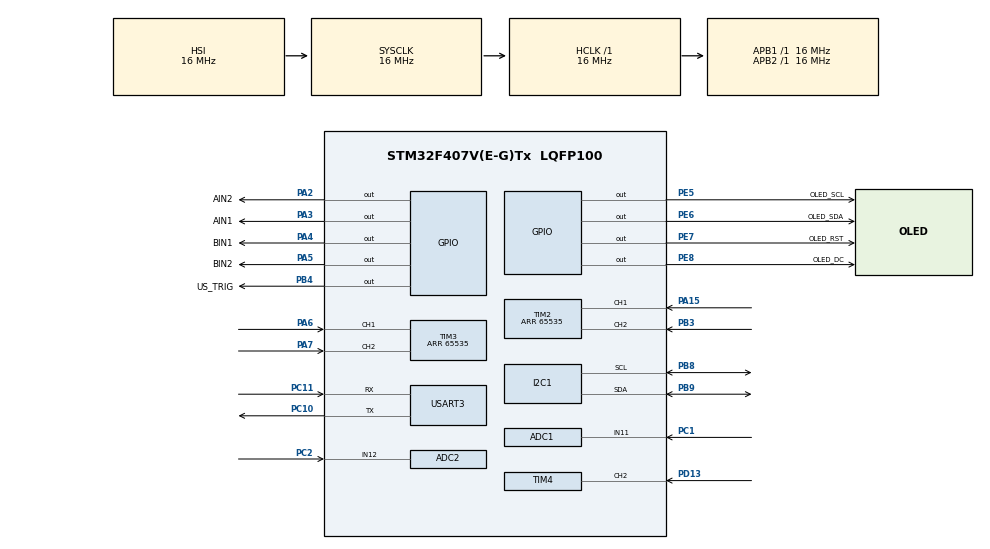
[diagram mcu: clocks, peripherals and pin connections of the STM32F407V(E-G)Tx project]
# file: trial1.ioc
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ADC1.Channel-1\#ChannelRegularConversion=ADC_CHANNEL_11
ADC1.NbrOfConversionFlag=1
ADC1.Rank-1\#ChannelRegularConversion=1
ADC1.SamplingTime-1\#ChannelRegularConversion=ADC_SAMPLETIME_3CYCLES
ADC1.master=1
ADC2.Channel-0\#ChannelRegularConversion=ADC_CHANNEL_12
ADC2.NbrOfConversionFlag=1
ADC2.Rank-0\#ChannelRegularConversion=1
ADC2.SamplingTime-0\#ChannelRegularConversion=ADC_SAMPLETIME_3CYCLES
FREERTOS.Tasks01=defaultTask,24,128,StartDefaultTask,Default,NULL,Dynamic,NULL,NULL;MotorTask,8,1024,motors,Default,NULL,Dynamic,NULL,NULL;ShowTask,8,128,show,Default,NULL,Dynamic,NULL,NULL
Mcu.Family=STM32F4
Mcu.Name=STM32F407V(E-G)Tx
Mcu.Package=LQFP100
NVIC.PriorityGroup=NVIC_PRIORITYGROUP_4
NVIC.TIM4_IRQn=true\:5\:0\:false\:false\:true\:true\:true\:true
NVIC.USART3_IRQn=true\:5\:0\:false\:false\:true\:true\:true\:true
PA15.Signal=S_TIM2_CH1_ETR
PA2.GPIO_Label=AIN2
PA2.GPIO_Speed=GPIO_SPEED_FREQ_HIGH
PA2.Signal=GPIO_Output
PA3.GPIO_Label=AIN1
PA3.GPIO_Speed=GPIO_SPEED_FREQ_HIGH
PA3.Signal=GPIO_Output
PA4.GPIO_Label=BIN1
PA4.Signal=GPIO_Output
PA5.GPIO_Label=BIN2
PA5.Signal=GPIO_Output
PA6.Signal=S_TIM3_CH1
PA7.Signal=S_TIM3_CH2
PB3.Signal=S_TIM2_CH2
PB4.GPIO_Label=US_TRIG
PB4.Signal=GPIO_Output
PB8.GPIO_Pu=GPIO_PULLUP
PB8.GPIO_Speed=GPIO_SPEED_FREQ_HIGH
PB8.Mode=I2C
PB8.Signal=I2C1_SCL
PB9.GPIO_Pu=GPIO_PULLUP
PB9.GPIO_Speed=GPIO_SPEED_FREQ_HIGH
PB9.Mode=I2C
PB9.Signal=I2C1_SDA
PC1.Signal=ADCx_IN11
PC10.Mode=Asynchronous
PC10.Signal=USART3_TX
PC11.Mode=Asynchronous
PC11.Signal=USART3_RX
PC2.Signal=ADCx_IN12
PC6.GPIO_Label=PWMA
PC6.Signal=S_TIM8_CH1
PC7.GPIO_Label=PWMB
PC7.Signal=S_TIM8_CH2
PD13.Signal=S_TIM4_CH2
PE14.Signal=S_TIM1_CH4
PE5.GPIO_Label=OLED_SCL
PE5.Signal=GPIO_Output
PE6.GPIO_Label=OLED_SDA
PE6.Signal=GPIO_Output
PE7.GPIO_Label=OLED_RST
PE7.Signal=GPIO_Output
PE8.GPIO_Label=OLED_DC
PE8.Signal=GPIO_Output
ProjectManager.HeapSize=0x200
ProjectManager.StackSize=0x400
ProjectManager.TargetToolchain=STM32CubeIDE
RCC.AHBFreq_Value=16000000
RCC.APB1Freq_Value=16000000
RCC.APB2Freq_Value=16000000
RCC.CortexFreq_Value=16000000
RCC.HSE_VALUE=25000000
RCC.HSI_VALUE=16000000
RCC.LSE_VALUE=32768
RCC.SYSCLKFreq_VALUE=16000000
RCC.VCOOutputFreq_Value=192000000
SH.ADCx_IN11.0=ADC1_IN11,IN11
SH.ADCx_IN12.0=ADC2_IN12,IN12
SH.S_TIM1_CH4.0=TIM1_CH4
SH.S_TIM2_CH1_ETR.0=TIM2_CH1,Encoder_Interface
SH.S_TIM2_CH2.0=TIM2_CH2,Encoder_Interface
SH.S_TIM3_CH1.0=TIM3_CH1,Encoder_Interface
SH.S_TIM3_CH2.0=TIM3_CH2,Encoder_Interface
SH.S_TIM4_CH2.0=TIM4_CH2,Input_Capture2_from_TI2
SH.S_TIM8_CH1.0=TIM8_CH1
SH.S_TIM8_CH2.0=TIM8_CH2
TIM1.AutoReloadPreload=TIM_AUTORELOAD_PRELOAD_ENABLE
TIM1.Channel-PWM\ Generation4\ No\ Output=TIM_CHANNEL_4
TIM1.Period=1000
TIM1.Prescaler=320
TIM2.EncoderMode=TIM_ENCODERMODE_TI12
TIM2.IC1Filter=10
TIM2.IC2Filter=10
TIM2.Period=65535
TIM3.AutoReloadPreload=TIM_AUTORELOAD_PRELOAD_DISABLE
TIM3.EncoderMode=TIM_ENCODERMODE_TI12
TIM3.IC1Filter=10
TIM3.IC2Filter=10
TIM3.Period=65535
TIM4.Channel-Input_Capture2_from_TI2=TIM_CHANNEL_2
TIM4.Prescaler=16-1
TIM8.Channel-PWM\ Generation1\ No\ Output=TIM_CHANNEL_1
TIM8.Channel-PWM\ Generation2\ No\ Output=TIM_CHANNEL_2
TIM8.CounterMode=TIM_COUNTERMODE_UP
TIM8.Period=7199
USART3.VirtualMode=VM_ASYNC
VP_FREERTOS_VS_CMSIS_V2.Mode=CMSIS_V2
VP_TIM1_VS_ClockSourceINT.Mode=Internal
VP_TIM1_VS_no_output4.Mode=PWM Generation4 No Output
VP_TIM8_VS_ClockSourceINT.Mode=Internal
VP_TIM8_VS_no_output1.Mode=PWM Generation1 No Output
VP_TIM8_VS_no_output2.Mode=PWM Generation2 No Output
board=custom

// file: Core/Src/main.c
/* USER CODE BEGIN Header */
/**
  ******************************************************************************
  * @file           : main.c
  * @brief          : Main program body
  ******************************************************************************
  * @attention
  *
  * Copyright (c) 2022 STMicroelectronics.
  * All rights reserved.
  *
  * This software is licensed under terms that can be found in the LICENSE file
  * in the root directory of this software component.
  * If no LICENSE file comes with this software, it is provided AS-IS.
  *
  ******************************************************************************
  */
/* USER CODE END Header */
#include "main.h"
#include "cmsis_os.h"

/* USER CODE BEGIN Includes */
#include "oled.h"
#include "math.h"
#include "stdbool.h"
#include "pid.h"
#include "ICM20948.h"
/* USER CODE END Includes */

ADC_HandleTypeDef hadc1;
ADC_HandleTypeDef hadc2;

I2C_HandleTypeDef hi2c1;

TIM_HandleTypeDef htim1;
TIM_HandleTypeDef htim2;
TIM_HandleTypeDef htim3;
TIM_HandleTypeDef htim4;
TIM_HandleTypeDef htim8;

UART_HandleTypeDef huart3;

/* Definitions for defaultTask */
osThreadId_t defaultTaskHandle;
const osThreadAttr_t defaultTask_attributes = {
  .name = "defaultTask",
  .stack_size = 128 * 4,
  .priority = (osPriority_t) osPriorityNormal,
};
/* Definitions for MotorTask */
osThreadId_t MotorTaskHandle;
const osThreadAttr_t MotorTask_attributes = {
  .name = "MotorTask",
  .stack_size = 1024 * 4,
  .priority = (osPriority_t) osPriorityLow,
};
/* Definitions for ShowTask */
osThreadId_t ShowTaskHandle;
const osThreadAttr_t ShowTask_attributes = {
  .name = "ShowTask",
  .stack_size = 128 * 4,
  .priority = (osPriority_t) osPriorityLow,
};
/* USER CODE BEGIN PV */

// gyro value for PID
float targetAngle = 0;
float curAngle = 0;
uint8_t readGyroZData[2];
int16_t gyroZ;
float curAngleTurn = 0;
/* USER CODE END PV */

void SystemClock_Config(void);
static void MX_GPIO_Init(void);
static void MX_TIM8_Init(void);
static void MX_TIM2_Init(void);
static void MX_TIM3_Init(void);
static void MX_TIM1_Init(void);
static void MX_USART3_UART_Init(void);
static void MX_I2C1_Init(void);
static void MX_ADC1_Init(void);
static void MX_ADC2_Init(void);
static void MX_TIM4_Init(void);
void StartDefaultTask(void *argument);
void motors(void *argument);
void show(void *argument);

/* USER CODE BEGIN 0 */
uint8_t aRxBuffer[4];
uint8_t indexer = 0; // to store array index and determine number of incoming chars
uint8_t data_rx = 0; // to receive incoming uart char
float targetAngle;
/* USER CODE END 0 */

int main(void)
{

  /* MCU Configuration--------------------------------------------------------*/

  /* Reset of all peripherals, Initializes the Flash interface and the Systick. */
  HAL_Init();

  /* Configure the system clock */
  SystemClock_Config();

  /* Initialize all configured peripherals */
  MX_GPIO_Init();
  MX_TIM8_Init();
  MX_TIM2_Init();
  MX_TIM3_Init();
  MX_TIM1_Init();
  MX_USART3_UART_Init();
  MX_I2C1_Init();
  MX_ADC1_Init();
  MX_ADC2_Init();
  MX_TIM4_Init();
  /* USER CODE BEGIN 2 */
  OLED_Init();
  ICM20948_init(&hi2c1,0,GYRO_FULL_SCALE_2000DPS);

  HAL_UART_Receive_IT(&huart3,(uint8_t *) &data_rx, 1);
//  HAL_UART_Receive_DMA (&huart3, UART1_rxBuffer, 12);
  /* USER CODE END 2 */

  /* Init scheduler */
  osKernelInitialize();

  /* Create the thread(s) */
  /* creation of defaultTask */
  defaultTaskHandle = osThreadNew(StartDefaultTask, NULL, &defaultTask_attributes);

  /* creation of MotorTask */
  MotorTaskHandle = osThreadNew(motors, NULL, &MotorTask_attributes);

  /* creation of ShowTask */
  ShowTaskHandle = osThreadNew(show, NULL, &ShowTask_attributes);

  /* Start scheduler */
  osKernelStart();

  /* We should never get here as control is now taken by the scheduler */
  /* Infinite loop */
  while (1)
  {

  }
}

void SystemClock_Config(void)
{
  RCC_OscInitTypeDef RCC_OscInitStruct = {0};
  RCC_ClkInitTypeDef RCC_ClkInitStruct = {0};

  /** Configure the main internal regulator output voltage
  */
  __HAL_RCC_PWR_CLK_ENABLE();
  __HAL_PWR_VOLTAGESCALING_CONFIG(PWR_REGULATOR_VOLTAGE_SCALE1);
  /** Initializes the RCC Oscillators according to the specified parameters
  * in the RCC_OscInitTypeDef structure.
  */
  RCC_OscInitStruct.OscillatorType = RCC_OSCILLATORTYPE_HSI;
  RCC_OscInitStruct.HSIState = RCC_HSI_ON;
  RCC_OscInitStruct.HSICalibrationValue = RCC_HSICALIBRATION_DEFAULT;
  RCC_OscInitStruct.PLL.PLLState = RCC_PLL_NONE;
  if (HAL_RCC_OscConfig(&RCC_OscInitStruct) != HAL_OK)
  {
    Error_Handler();
  }
  /** Initializes the CPU, AHB and APB buses clocks
  */
  RCC_ClkInitStruct.ClockType = RCC_CLOCKTYPE_HCLK|RCC_CLOCKTYPE_SYSCLK
                              |RCC_CLOCKTYPE_PCLK1|RCC_CLOCKTYPE_PCLK2;
  RCC_ClkInitStruct.SYSCLKSource = RCC_SYSCLKSOURCE_HSI;
  RCC_ClkInitStruct.AHBCLKDivider = RCC_SYSCLK_DIV1;
  RCC_ClkInitStruct.APB1CLKDivider = RCC_HCLK_DIV1;
  RCC_ClkInitStruct.APB2CLKDivider = RCC_HCLK_DIV1;

  if (HAL_RCC_ClockConfig(&RCC_ClkInitStruct, FLASH_LATENCY_0) != HAL_OK)
  {
    Error_Handler();
  }
}

static void MX_ADC1_Init(void)
{

  ADC_ChannelConfTypeDef sConfig = {0};

  /** Configure the global features of the ADC (Clock, Resolution, Data Alignment and number of conversion)
  */
  hadc1.Instance = ADC1;
  hadc1.Init.ClockPrescaler = ADC_CLOCK_SYNC_PCLK_DIV2;
  hadc1.Init.Resolution = ADC_RESOLUTION_12B;
  hadc1.Init.ScanConvMode = DISABLE;
  hadc1.Init.ContinuousConvMode = DISABLE;
  hadc1.Init.DiscontinuousConvMode = DISABLE;
  hadc1.Init.ExternalTrigConvEdge = ADC_EXTERNALTRIGCONVEDGE_NONE;
  hadc1.Init.ExternalTrigConv = ADC_SOFTWARE_START;
  hadc1.Init.DataAlign = ADC_DATAALIGN_RIGHT;
  hadc1.Init.NbrOfConversion = 1;
  hadc1.Init.DMAContinuousRequests = DISABLE;
  hadc1.Init.EOCSelection = ADC_EOC_SINGLE_CONV;
  if (HAL_ADC_Init(&hadc1) != HAL_OK)
  {
    Error_Handler();
  }
  /** Configure for the selected ADC regular channel its corresponding rank in the sequencer and its sample time.
  */
  sConfig.Channel = ADC_CHANNEL_11;
  sConfig.Rank = 1;
  sConfig.SamplingTime = ADC_SAMPLETIME_3CYCLES;
  if (HAL_ADC_ConfigChannel(&hadc1, &sConfig) != HAL_OK)
  {
    Error_Handler();
  }

}

static void MX_ADC2_Init(void)
{

  ADC_ChannelConfTypeDef sConfig = {0};

  /** Configure the global features of the ADC (Clock, Resolution, Data Alignment and number of conversion)
  */
  hadc2.Instance = ADC2;
  hadc2.Init.ClockPrescaler = ADC_CLOCK_SYNC_PCLK_DIV2;
  hadc2.Init.Resolution = ADC_RESOLUTION_12B;
  hadc2.Init.ScanConvMode = DISABLE;
  hadc2.Init.ContinuousConvMode = DISABLE;
  hadc2.Init.DiscontinuousConvMode = DISABLE;
  hadc2.Init.ExternalTrigConvEdge = ADC_EXTERNALTRIGCONVEDGE_NONE;
  hadc2.Init.ExternalTrigConv = ADC_SOFTWARE_START;
  hadc2.Init.DataAlign = ADC_DATAALIGN_RIGHT;
  hadc2.Init.NbrOfConversion = 1;
  hadc2.Init.DMAContinuousRequests = DISABLE;
  hadc2.Init.EOCSelection = ADC_EOC_SINGLE_CONV;
  if (HAL_ADC_Init(&hadc2) != HAL_OK)
  {
    Error_Handler();
  }
  /** Configure for the selected ADC regular channel its corresponding rank in the sequencer and its sample time.
  */
  sConfig.Channel = ADC_CHANNEL_12;
  sConfig.Rank = 1;
  sConfig.SamplingTime = ADC_SAMPLETIME_3CYCLES;
  if (HAL_ADC_ConfigChannel(&hadc2, &sConfig) != HAL_OK)
  {
    Error_Handler();
  }

}

static void MX_I2C1_Init(void)
{

  hi2c1.Instance = I2C1;
  hi2c1.Init.ClockSpeed = 100000;
  hi2c1.Init.DutyCycle = I2C_DUTYCYCLE_2;
  hi2c1.Init.OwnAddress1 = 0;
  hi2c1.Init.AddressingMode = I2C_ADDRESSINGMODE_7BIT;
  hi2c1.Init.DualAddressMode = I2C_DUALADDRESS_DISABLE;
  hi2c1.Init.OwnAddress2 = 0;
  hi2c1.Init.GeneralCallMode = I2C_GENERALCALL_DISABLE;
  hi2c1.Init.NoStretchMode = I2C_NOSTRETCH_DISABLE;
  if (HAL_I2C_Init(&hi2c1) != HAL_OK)
  {
    Error_Handler();
  }

}

static void MX_TIM1_Init(void)
{

  TIM_ClockConfigTypeDef sClockSourceConfig = {0};
  TIM_MasterConfigTypeDef sMasterConfig = {0};
  TIM_OC_InitTypeDef sConfigOC = {0};
  TIM_BreakDeadTimeConfigTypeDef sBreakDeadTimeConfig = {0};

  htim1.Instance = TIM1;
  htim1.Init.Prescaler = 320;
  htim1.Init.CounterMode = TIM_COUNTERMODE_UP;
  htim1.Init.Period = 1000;
  htim1.Init.ClockDivision = TIM_CLOCKDIVISION_DIV1;
  htim1.Init.RepetitionCounter = 0;
  htim1.Init.AutoReloadPreload = TIM_AUTORELOAD_PRELOAD_ENABLE;
  if (HAL_TIM_Base_Init(&htim1) != HAL_OK)
  {
    Error_Handler();
  }
  sClockSourceConfig.ClockSource = TIM_CLOCKSOURCE_INTERNAL;
  if (HAL_TIM_ConfigClockSource(&htim1, &sClockSourceConfig) != HAL_OK)
  {
    Error_Handler();
  }
  if (HAL_TIM_PWM_Init(&htim1) != HAL_OK)
  {
    Error_Handler();
  }
  sMasterConfig.MasterOutputTrigger = TIM_TRGO_RESET;
  sMasterConfig.MasterSlaveMode = TIM_MASTERSLAVEMODE_DISABLE;
  if (HAL_TIMEx_MasterConfigSynchronization(&htim1, &sMasterConfig) != HAL_OK)
  {
    Error_Handler();
  }
  sConfigOC.OCMode = TIM_OCMODE_PWM1;
  sConfigOC.Pulse = 0;
  sConfigOC.OCPolarity = TIM_OCPOLARITY_HIGH;
  sConfigOC.OCFastMode = TIM_OCFAST_DISABLE;
  sConfigOC.OCIdleState = TIM_OCIDLESTATE_RESET;
  sConfigOC.OCNIdleState = TIM_OCNIDLESTATE_RESET;
  if (HAL_TIM_PWM_ConfigChannel(&htim1, &sConfigOC, TIM_CHANNEL_4) != HAL_OK)
  {
    Error_Handler();
  }
  sBreakDeadTimeConfig.OffStateRunMode = TIM_OSSR_DISABLE;
  sBreakDeadTimeConfig.OffStateIDLEMode = TIM_OSSI_DISABLE;
  sBreakDeadTimeConfig.LockLevel = TIM_LOCKLEVEL_OFF;
  sBreakDeadTimeConfig.DeadTime = 0;
  sBreakDeadTimeConfig.BreakState = TIM_BREAK_DISABLE;
  sBreakDeadTimeConfig.BreakPolarity = TIM_BREAKPOLARITY_HIGH;
  sBreakDeadTimeConfig.AutomaticOutput = TIM_AUTOMATICOUTPUT_DISABLE;
  if (HAL_TIMEx_ConfigBreakDeadTime(&htim1, &sBreakDeadTimeConfig) != HAL_OK)
  {
    Error_Handler();
  }

}

static void MX_TIM2_Init(void)
{

  TIM_Encoder_InitTypeDef sConfig = {0};
  TIM_MasterConfigTypeDef sMasterConfig = {0};

  htim2.Instance = TIM2;
  htim2.Init.Prescaler = 0;
  htim2.Init.CounterMode = TIM_COUNTERMODE_UP;
  htim2.Init.Period = 65535;
  htim2.Init.ClockDivision = TIM_CLOCKDIVISION_DIV1;
  htim2.Init.AutoReloadPreload = TIM_AUTORELOAD_PRELOAD_DISABLE;
  sConfig.EncoderMode = TIM_ENCODERMODE_TI12;
  sConfig.IC1Polarity = TIM_ICPOLARITY_RISING;
  sConfig.IC1Selection = TIM_ICSELECTION_DIRECTTI;
  sConfig.IC1Prescaler = TIM_ICPSC_DIV1;
  sConfig.IC1Filter = 10;
  sConfig.IC2Polarity = TIM_ICPOLARITY_RISING;
  sConfig.IC2Selection = TIM_ICSELECTION_DIRECTTI;
  sConfig.IC2Prescaler = TIM_ICPSC_DIV1;
  sConfig.IC2Filter = 10;
  if (HAL_TIM_Encoder_Init(&htim2, &sConfig) != HAL_OK)
  {
    Error_Handler();
  }
  sMasterConfig.MasterOutputTrigger = TIM_TRGO_RESET;
  sMasterConfig.MasterSlaveMode = TIM_MASTERSLAVEMODE_DISABLE;
  if (HAL_TIMEx_MasterConfigSynchronization(&htim2, &sMasterConfig) != HAL_OK)
  {
    Error_Handler();
  }

}

static void MX_TIM3_Init(void)
{

  TIM_Encoder_InitTypeDef sConfig = {0};
  TIM_MasterConfigTypeDef sMasterConfig = {0};

  htim3.Instance = TIM3;
  htim3.Init.Prescaler = 0;
  htim3.Init.CounterMode = TIM_COUNTERMODE_UP;
  htim3.Init.Period = 65535;
  htim3.Init.ClockDivision = TIM_CLOCKDIVISION_DIV1;
  htim3.Init.AutoReloadPreload = TIM_AUTORELOAD_PRELOAD_DISABLE;
  sConfig.EncoderMode = TIM_ENCODERMODE_TI12;
  sConfig.IC1Polarity = TIM_ICPOLARITY_RISING;
  sConfig.IC1Selection = TIM_ICSELECTION_DIRECTTI;
  sConfig.IC1Prescaler = TIM_ICPSC_DIV1;
  sConfig.IC1Filter = 10;
  sConfig.IC2Polarity = TIM_ICPOLARITY_RISING;
  sConfig.IC2Selection = TIM_ICSELECTION_DIRECTTI;
  sConfig.IC2Prescaler = TIM_ICPSC_DIV1;
  sConfig.IC2Filter = 10;
  if (HAL_TIM_Encoder_Init(&htim3, &sConfig) != HAL_OK)
  {
    Error_Handler();
  }
  sMasterConfig.MasterOutputTrigger = TIM_TRGO_RESET;
  sMasterConfig.MasterSlaveMode = TIM_MASTERSLAVEMODE_DISABLE;
  if (HAL_TIMEx_MasterConfigSynchronization(&htim3, &sMasterConfig) != HAL_OK)
  {
    Error_Handler();
  }

}

static void MX_TIM4_Init(void)
{

  TIM_MasterConfigTypeDef sMasterConfig = {0};
  TIM_IC_InitTypeDef sConfigIC = {0};

  htim4.Instance = TIM4;
  htim4.Init.Prescaler = 16-1;
  htim4.Init.CounterMode = TIM_COUNTERMODE_UP;
  htim4.Init.Period = 65535;
  htim4.Init.ClockDivision = TIM_CLOCKDIVISION_DIV1;
  htim4.Init.AutoReloadPreload = TIM_AUTORELOAD_PRELOAD_DISABLE;
  if (HAL_TIM_IC_Init(&htim4) != HAL_OK)
  {
    Error_Handler();
  }
  sMasterConfig.MasterOutputTrigger = TIM_TRGO_RESET;
  sMasterConfig.MasterSlaveMode = TIM_MASTERSLAVEMODE_DISABLE;
  if (HAL_TIMEx_MasterConfigSynchronization(&htim4, &sMasterConfig) != HAL_OK)
  {
    Error_Handler();
  }
  sConfigIC.ICPolarity = TIM_INPUTCHANNELPOLARITY_RISING;
  sConfigIC.ICSelection = TIM_ICSELECTION_DIRECTTI;
  sConfigIC.ICPrescaler = TIM_ICPSC_DIV1;
  sConfigIC.ICFilter = 0;
  if (HAL_TIM_IC_ConfigChannel(&htim4, &sConfigIC, TIM_CHANNEL_2) != HAL_OK)
  {
    Error_Handler();
  }

}

static void MX_TIM8_Init(void)
{

  TIM_ClockConfigTypeDef sClockSourceConfig = {0};
  TIM_MasterConfigTypeDef sMasterConfig = {0};
  TIM_OC_InitTypeDef sConfigOC = {0};
  TIM_BreakDeadTimeConfigTypeDef sBreakDeadTimeConfig = {0};

  htim8.Instance = TIM8;
  htim8.Init.Prescaler = 0;
  htim8.Init.CounterMode = TIM_COUNTERMODE_UP;
  htim8.Init.Period = 7199;
  htim8.Init.ClockDivision = TIM_CLOCKDIVISION_DIV1;
  htim8.Init.RepetitionCounter = 0;
  htim8.Init.AutoReloadPreload = TIM_AUTORELOAD_PRELOAD_DISABLE;
  if (HAL_TIM_Base_Init(&htim8) != HAL_OK)
  {
    Error_Handler();
  }
  sClockSourceConfig.ClockSource = TIM_CLOCKSOURCE_INTERNAL;
  if (HAL_TIM_ConfigClockSource(&htim8, &sClockSourceConfig) != HAL_OK)
  {
    Error_Handler();
  }
  if (HAL_TIM_PWM_Init(&htim8) != HAL_OK)
  {
    Error_Handler();
  }
  sMasterConfig.MasterOutputTrigger = TIM_TRGO_RESET;
  sMasterConfig.MasterSlaveMode = TIM_MASTERSLAVEMODE_DISABLE;
  if (HAL_TIMEx_MasterConfigSynchronization(&htim8, &sMasterConfig) != HAL_OK)
  {
    Error_Handler();
  }
  sConfigOC.OCMode = TIM_OCMODE_PWM1;
  sConfigOC.Pulse = 0;
  sConfigOC.OCPolarity = TIM_OCPOLARITY_HIGH;
  sConfigOC.OCNPolarity = TIM_OCNPOLARITY_HIGH;
  sConfigOC.OCFastMode = TIM_OCFAST_DISABLE;
  sConfigOC.OCIdleState = TIM_OCIDLESTATE_RESET;
  sConfigOC.OCNIdleState = TIM_OCNIDLESTATE_RESET;
  if (HAL_TIM_PWM_ConfigChannel(&htim8, &sConfigOC, TIM_CHANNEL_1) != HAL_OK)
  {
    Error_Handler();
  }
  if (HAL_TIM_PWM_ConfigChannel(&htim8, &sConfigOC, TIM_CHANNEL_2) != HAL_OK)
  {
    Error_Handler();
  }
  sBreakDeadTimeConfig.OffStateRunMode = TIM_OSSR_DISABLE;
  sBreakDeadTimeConfig.OffStateIDLEMode = TIM_OSSI_DISABLE;
  sBreakDeadTimeConfig.LockLevel = TIM_LOCKLEVEL_OFF;
  sBreakDeadTimeConfig.DeadTime = 0;
  sBreakDeadTimeConfig.BreakState = TIM_BREAK_DISABLE;
  sBreakDeadTimeConfig.BreakPolarity = TIM_BREAKPOLARITY_HIGH;
  sBreakDeadTimeConfig.AutomaticOutput = TIM_AUTOMATICOUTPUT_DISABLE;
  if (HAL_TIMEx_ConfigBreakDeadTime(&htim8, &sBreakDeadTimeConfig) != HAL_OK)
  {
    Error_Handler();
  }

}

static void MX_USART3_UART_Init(void)
{

  huart3.Instance = USART3;
  huart3.Init.BaudRate = 115200;
  huart3.Init.WordLength = UART_WORDLENGTH_8B;
  huart3.Init.StopBits = UART_STOPBITS_1;
  huart3.Init.Parity = UART_PARITY_NONE;
  huart3.Init.Mode = UART_MODE_TX_RX;
  huart3.Init.HwFlowCtl = UART_HWCONTROL_NONE;
  huart3.Init.OverSampling = UART_OVERSAMPLING_16;
  if (HAL_UART_Init(&huart3) != HAL_OK)
  {
    Error_Handler();
  }

}

static void MX_GPIO_Init(void)
{
  GPIO_InitTypeDef GPIO_InitStruct = {0};

  /* GPIO Ports Clock Enable */
  __HAL_RCC_GPIOE_CLK_ENABLE();
  __HAL_RCC_GPIOC_CLK_ENABLE();
  __HAL_RCC_GPIOA_CLK_ENABLE();
  __HAL_RCC_GPIOD_CLK_ENABLE();
  __HAL_RCC_GPIOB_CLK_ENABLE();

  /*Configure GPIO pin Output Level */
  HAL_GPIO_WritePin(GPIOE, OLED_SCL_Pin|OLED_SDA_Pin|OLED_RST_Pin|OLED_DC_Pin, GPIO_PIN_RESET);

  /*Configure GPIO pin Output Level */
  HAL_GPIO_WritePin(GPIOA, AIN2_Pin|AIN1_Pin|BIN1_Pin|BIN2_Pin, GPIO_PIN_RESET);

  /*Configure GPIO pin Output Level */
  HAL_GPIO_WritePin(US_TRIG_GPIO_Port, US_TRIG_Pin, GPIO_PIN_RESET);

  /*Configure GPIO pins : OLED_SCL_Pin OLED_SDA_Pin OLED_RST_Pin OLED_DC_Pin */
  GPIO_InitStruct.Pin = OLED_SCL_Pin|OLED_SDA_Pin|OLED_RST_Pin|OLED_DC_Pin;
  GPIO_InitStruct.Mode = GPIO_MODE_OUTPUT_PP;
  GPIO_InitStruct.Pull = GPIO_NOPULL;
  GPIO_InitStruct.Speed = GPIO_SPEED_FREQ_LOW;
  HAL_GPIO_Init(GPIOE, &GPIO_InitStruct);

  /*Configure GPIO pins : AIN2_Pin AIN1_Pin */
  GPIO_InitStruct.Pin = AIN2_Pin|AIN1_Pin;
  GPIO_InitStruct.Mode = GPIO_MODE_OUTPUT_PP;
  GPIO_InitStruct.Pull = GPIO_NOPULL;
  GPIO_InitStruct.Speed = GPIO_SPEED_FREQ_HIGH;
  HAL_GPIO_Init(GPIOA, &GPIO_InitStruct);

  /*Configure GPIO pins : BIN1_Pin BIN2_Pin */
  GPIO_InitStruct.Pin = BIN1_Pin|BIN2_Pin;
  GPIO_InitStruct.Mode = GPIO_MODE_OUTPUT_PP;
  GPIO_InitStruct.Pull = GPIO_NOPULL;
  GPIO_InitStruct.Speed = GPIO_SPEED_FREQ_LOW;
  HAL_GPIO_Init(GPIOA, &GPIO_InitStruct);

  /*Configure GPIO pin : US_TRIG_Pin */
  GPIO_InitStruct.Pin = US_TRIG_Pin;
  GPIO_InitStruct.Mode = GPIO_MODE_OUTPUT_PP;
  GPIO_InitStruct.Pull = GPIO_NOPULL;
  GPIO_InitStruct.Speed = GPIO_SPEED_FREQ_LOW;
  HAL_GPIO_Init(US_TRIG_GPIO_Port, &GPIO_InitStruct);

}

/* USER CODE BEGIN 4 */
bool receivingUART = false;
bool commandReady = false;
uint8_t count = 0;
uint8_t txCount = 0;
int testVal = 0;

void HAL_UART_RxCpltCallback(UART_HandleTypeDef * huart)
{
	UNUSED(huart);
  count += 1;
	uint8_t endChar = '\r';
	if (data_rx == endChar && ! receivingUART){
		data_rx = 0;
		indexer = 0;
		memset(aRxBuffer,0, 4);
		receivingUART = true;
	} else if (receivingUART){
		if (data_rx != endChar){
			aRxBuffer[indexer] = data_rx;
			indexer++;
		} else {
			receivingUART = false;
			commandReady = true;
			data_rx = 0;
		}
	}
	/**
	 * re receiving signal
	 */
	HAL_UART_Receive_IT(&huart3,(uint8_t *) &data_rx, 1);
}

void HAL_UART_TxCpltCallback(UART_HandleTypeDef *huart)
{
	UNUSED(huart);
  txCount +=1 ;
}

uint32_t iCVal1 = 0, iCVal2 = 0;
uint8_t isFirstCapture = 0;
float obsDistUS = 0;
uint8_t icCBCount = 0; // count number of callbacks for debug

void HAL_TIM_IC_CaptureCallback(TIM_HandleTypeDef *htim)
{
	icCBCount += 1;
	if (htim->Channel == HAL_TIM_ACTIVE_CHANNEL_2)  // if the interrupt source is channel2 (TRI: TIM4_CH2)
	{
		if (isFirstCapture==0) // if the first value is not captured
		{
			iCVal1 = HAL_TIM_ReadCapturedValue(htim, TIM_CHANNEL_2); // read the first value
			isFirstCapture = 1;  // set the first captured as true
			// Now change the polarity to falling edge
			__HAL_TIM_SET_CAPTUREPOLARITY(htim, TIM_CHANNEL_2, TIM_INPUTCHANNELPOLARITY_FALLING);
		}

		else if (isFirstCapture==1)   // if the first is already captured
		{
			iCVal2 = HAL_TIM_ReadCapturedValue(htim, TIM_CHANNEL_2);  // read second value
			__HAL_TIM_SET_COUNTER(htim, 0);  // reset the counter
			obsDistUS = (iCVal2 > iCVal1 ? (iCVal2 - iCVal1) : (65535 - iCVal1 + iCVal2)) * 0.034 / 2;
			isFirstCapture = 0; // set it back to false

			// set polarity to rising edge
			__HAL_TIM_SET_CAPTUREPOLARITY(htim, TIM_CHANNEL_2, TIM_INPUTCHANNELPOLARITY_RISING);
			__HAL_TIM_DISABLE_IT(&htim4, TIM_IT_CC2);
		}
	}
}

// motors function

float arrTofloat(uint8_t arr[4], int s, int e){
	float res =0;
	for (int j=0;j<=e-s;j++){
//		myInt1 = bytes[0] + (bytes[1] << 8) + (bytes[2] << 16) + (bytes[3] << 24);
	 	res += pow(10,j)*((int) arr[e-j]-48);
	}
	return res;
}

void stop_rear_wheels()
{
	__HAL_TIM_SET_COMPARE(&htim8, TIM_CHANNEL_1, 0);
	__HAL_TIM_SET_COMPARE(&htim8, TIM_CHANNEL_2, 0);
}

void set_wheel_direction(bool isForward){
	if (isForward){
		HAL_GPIO_WritePin(GPIOA,AIN2_Pin,GPIO_PIN_SET);
		HAL_GPIO_WritePin(GPIOA,AIN1_Pin,GPIO_PIN_RESET);
		HAL_GPIO_WritePin(GPIOA, BIN2_Pin, GPIO_PIN_SET);
		HAL_GPIO_WritePin(GPIOA, BIN1_Pin, GPIO_PIN_RESET);
	} else {
		HAL_GPIO_WritePin(GPIOA,AIN2_Pin,GPIO_PIN_RESET);
		HAL_GPIO_WritePin(GPIOA,AIN1_Pin,GPIO_PIN_SET);
		HAL_GPIO_WritePin(GPIOA, BIN2_Pin, GPIO_PIN_RESET);
		HAL_GPIO_WritePin(GPIOA, BIN1_Pin, GPIO_PIN_SET);
	}
}

bool inLab = false;
uint32_t motorAPwm = 5840; // 5820
uint32_t motorBPwm = 5510; // 5510;
uint32_t motorAPwmLow = 1000;
uint32_t motorBPwmLow;
uint32_t servoRight = 130; // measure tan 1.6/3 - set to 140 => motor will not run -> think 135 is max
uint32_t servoLeft = 53; // old 44 // measure tan: 1.7/3
uint32_t servoMid = 73;
float DegConstLeft;
float DegConstRight;

/** measure distance **/
bool isMeasureDis = false;
bool overFlow = false;
uint32_t diffA = 0;
uint32_t diffB = 0;
uint32_t cnt1A = 0;
uint32_t cnt1B = 0;
uint32_t cnt2A = 0;
uint32_t cnt2B = 0;
int diffSpeed = 0;

bool isDownA = false;
bool isDownB = false;

uint32_t findDiffTime (bool isCountDown, uint32_t cnt1, uint32_t cnt2){
	uint32_t diff;
	if(isCountDown){
		if(cnt2 <= cnt1){
			overFlow = false;
			diff = cnt1 - cnt2;
		} else {
			overFlow = true;
			diff = (65535 - cnt2) + cnt1;
		}
	}
	else{
		if(cnt2 >= cnt1){
			overFlow = false;
			diff = cnt2 - cnt1;
		} else {
			overFlow = true;
			diff = (65535 - cnt1) + cnt2;
		}
	}
	return diff;
}

float measure (int cnt1_A, int cnt1_B){
	float disA, disB;
	int cnt2_A, cnt2_B, diff_A, diff_B;

	isDownA = __HAL_TIM_IS_TIM_COUNTING_DOWN(&htim2);
	isDownB = __HAL_TIM_IS_TIM_COUNTING_DOWN(&htim3);
	cnt2_A = __HAL_TIM_GET_COUNTER(&htim2);
	cnt2_B = __HAL_TIM_GET_COUNTER(&htim3);

	cnt2A = cnt2_A;
	cnt2B = cnt2_B;
	diff_A = findDiffTime(__HAL_TIM_IS_TIM_COUNTING_DOWN(&htim2), cnt1_A, __HAL_TIM_GET_COUNTER(&htim2));
	diff_B = findDiffTime(__HAL_TIM_IS_TIM_COUNTING_DOWN(&htim3), cnt1_B, __HAL_TIM_GET_COUNTER(&htim3));

	diffA = diff_A;
	diffB = diff_B;
	disA = diff_A*M_PI/(330*4)*5.65; // real is 6.5
	disB = diff_B*M_PI/(330*4)*5.65; // real is 6.5
  return (disA + disB)/2;
}

float measureDiffVelo (int cnt1_A, int cnt1_B, int oldTick){
	float veloA, veloB;
	int cnt2_A, cnt2_B, diff_A, diff_B;
	isDownA = __HAL_TIM_IS_TIM_COUNTING_DOWN(&htim2);
	isDownB = __HAL_TIM_IS_TIM_COUNTING_DOWN(&htim3);
	cnt2_A = __HAL_TIM_GET_COUNTER(&htim2);
	cnt2_B = __HAL_TIM_GET_COUNTER(&htim3);

	diff_A = findDiffTime(__HAL_TIM_IS_TIM_COUNTING_DOWN(&htim2), cnt1_A, __HAL_TIM_GET_COUNTER(&htim2));
	diff_B = findDiffTime(__HAL_TIM_IS_TIM_COUNTING_DOWN(&htim3), cnt1_B, __HAL_TIM_GET_COUNTER(&htim3));

	int tick = HAL_GetTick() - oldTick;
	veloA = diff_A*M_PI/(330*4)*5.65/tick*1000; // real is 6.5
	veloB = diff_B*M_PI/(330*4)*5.65/tick*1000; // real is 6.5
  return veloB-veloA;
}

/* distance should be in cm
 * simple move straight, without pid
 * */
void move_straight(bool isForward, float distance)
{
	set_wheel_direction(isForward);
	isMeasureDis = true; // trigger measure distance
	float measuredDis = 0;
	float diffVelo = 0; // veloB-veloA;
	int cnt1_A, cnt1_B, cnt1_velo_A, cnt1_velo_B;
	int oldTick;
	HAL_Delay(200);
	htim1.Instance->CCR4 = 74; // see how
	HAL_Delay(200);
	uint32_t usePwmA, usePwmB;

	if (!inLab) {
		usePwmA = 2500;
		usePwmB = 2100;

		if (!isForward) {
			usePwmA = 2100;
			usePwmB = 2480; //2650
		}
	} else {
		usePwmA = 1000;
		usePwmB = 1000; //1250

		if (!isForward) {
			usePwmA = 1000;
			usePwmB = 1325; //1275;
		}
	}

//	LED_SHOW = 1;
	HAL_Delay(200); // delay to the encoder work properly when change direction
	htim1.Instance->CCR4 = servoMid;
	__HAL_TIM_SET_COMPARE(&htim8, TIM_CHANNEL_1, usePwmA);
	__HAL_TIM_SET_COMPARE(&htim8, TIM_CHANNEL_2, usePwmB);

	cnt1_A = __HAL_TIM_GET_COUNTER(&htim2);
  cnt1_B = __HAL_TIM_GET_COUNTER(&htim3);
  cnt1_velo_A = cnt1_A;
  cnt1_velo_B = cnt1_B;
  oldTick = HAL_GetTick();
	do {
		HAL_Delay(5);
		measuredDis = measure(cnt1_A, cnt1_B);
	} while (distance > measuredDis);

//	LED_SHOW = 0;
	isMeasureDis = false; // stop measure
	stop_rear_wheels();
}

float measureDiffCount (int cnt1, bool isRight, int oldTick){
 float veloA, veloB;
 int cnt2, diff;
 bool isDown;
 if (isRight){
  isDown = __HAL_TIM_IS_TIM_COUNTING_DOWN(&htim2);
  cnt2 = __HAL_TIM_GET_COUNTER(&htim2);
 } else {
  isDown = __HAL_TIM_IS_TIM_COUNTING_DOWN(&htim3);
  cnt2 = __HAL_TIM_GET_COUNTER(&htim3);
 }
 diff = findDiffTime(isDown, cnt1, cnt2);
 int tick = HAL_GetTick() - oldTick;
 return (float)diff/(float)tick*1000; // unit it count/s
}

void move_straight_PID_Count(bool isForward, float targetcount){
 set_wheel_direction(isForward);
 htim1.Instance->CCR4 = 90;
 HAL_Delay(500); // delay to the encoder work properly when change direction
 htim1.Instance->CCR4 = servoMid;
 HAL_Delay(500);

 double offset = 0; // output Pid
 double input = 0; // input Pid
 uint16_t initPwmA = 3000;
 uint16_t initPwmB = 3000;
 if (! isForward){
  initPwmA = 3000;
  initPwmB = 3000;
 }

 uint16_t pwmValA = initPwmA;
 uint16_t pwmValB = initPwmB;

 long leftcount = 0;
 long rightcount = 0;
 long initLeftCount = 0;
 long initRightCount = 0;
 long countInDistanceL = 0;
 long countInDistanceR = 0;
 float currentcount = 0;

///////////////////PID CONFIGURATION///////////////////////////////////////////////////////
 int dirCoef = 1;
 double Kp, Ki, Kd, KpL, KiL, KdL;
 if (isForward){
  Kp = 1.5; // look ok 0.01 0 0 but still depends on the battery - work with 3100 and 2900 //second 0.01 0.5 0
	Ki = 0;
	Kd = 0;
 } else {
  Kp = 0.5; // look ok 0.01 0 0 but still depends on the battery - work with 3100 and 2900 //second 0.01 0.5 0
  Ki = 1;
  Kd = 0.09; // 0.025 look ok but damp quite slow
  dirCoef = -1;
 }
 if (! inLab){
	 Kp = 2;
	 Ki = 0;
	 Kd = 0;
 }
 PID_TypeDef pidControl, pidControlR;

 rightcount = __HAL_TIM_GET_COUNTER(&htim2);
 leftcount = __HAL_TIM_GET_COUNTER(&htim3);
 initLeftCount = leftcount;
 initRightCount = rightcount;
 isMeasureDis = true;
 count = 0;

 bool modLeft, modRight;
 modLeft = true;
 modRight = true;

 // reset angle
 gyroZ = 0;
 curAngle = 0;
 do {
    HAL_Delay(10);
   	__readGyroZ(&hi2c1, readGyroZData, gyroZ);
   	// since self test see gyroZ from -35 to 0 in the stable state
   	// negative moves it to the left, positive moves it to the right
   	curAngle += ((gyroZ >= -35 && gyroZ <= 25) ? 0 : gyroZ); //outside lab
   	input = -curAngle;

    PID_Compute(&pidControl);

    PID(&pidControl, &input, &offset, 0, Kp, Ki, Kd, _PID_P_ON_E, _PID_CD_DIRECT);//150,0,1.4, and 8,0.01,1
    PID_SetMode(&pidControl, _PID_MODE_AUTOMATIC);
    PID_SetSampleTime(&pidControl, 10);
    PID_SetOutputLimits(&pidControl, (int)2300 - initPwmB, (int) 3700 - initPwmB); //600

    if (modRight){
     pwmValA = initPwmA - offset * dirCoef;
     cnt1A = pwmValA;
    }

    if (modLeft){
     pwmValB = initPwmB + offset * dirCoef;
     cnt1B = pwmValB;
    }

    if (modRight ){
     __HAL_TIM_SetCompare(&htim8,TIM_CHANNEL_1,pwmValA*1.5);
    }
    if (modLeft){
     __HAL_TIM_SetCompare(&htim8,TIM_CHANNEL_2,pwmValB*1.5);
    }

    rightcount = __HAL_TIM_GET_COUNTER(&htim2);
    leftcount = __HAL_TIM_GET_COUNTER(&htim3);

    countInDistanceL = findDiffTime(__HAL_TIM_IS_TIM_COUNTING_DOWN(&htim3), initLeftCount,  leftcount);
    countInDistanceR = findDiffTime(__HAL_TIM_IS_TIM_COUNTING_DOWN(&htim2), initRightCount, rightcount);

    currentcount = (
      countInDistanceL + countInDistanceR
    )/2;

  } while ( currentcount < targetcount);

 stop_rear_wheels();
 isMeasureDis = false;
}

float distanceToCount(float distance){
 float countsPerRev = 1320; //cntA value per wheel revolution (1320)
  float wheelDiam = 6.05; // real 6.5 - modify due to error
  float wheelCirc = M_PI * wheelDiam;

  float numRev = distance/wheelCirc;
  float targetcount = numRev * countsPerRev;
  return targetcount;
}

void move_straight_PID(bool isForward, float distance){
  move_straight_PID_Count(isForward, distanceToCount(distance));
}

/**
 * just move straight without any distance
 */
void move_straight_no_distance(bool isForward){
 set_wheel_direction(isForward);

 double offset = 0; // output Pid
 double input = 0; // input Pid
 uint16_t pwmValA, pwmValB;
 uint16_t initPwmA = 3000;
 uint16_t initPwmB = 3000;
 if (! isForward){
  initPwmA = 3000;
  initPwmB = 3000;
 }

///////////////////PID CONFIGURATION///////////////////////////////////////////////////////
 int dirCoef = 1;
 double Kp, Ki, Kd;
 if (isForward){
  Kp = 1.5; // look ok 0.01 0 0 but still depends on the battery - work with 3100 and 2900 //second 0.01 0.5 0
    Ki = 0;
    Kd = 0;
 } else {
  Kp = 0.5; // look ok 0.01 0 0 but still depends on the battery - work with 3100 and 2900 //second 0.01 0.5 0
  Ki = 1;
  Kd = 0.09; // 0.025 look ok but damp quite slow
  dirCoef = -1;
 }
 if (! inLab){
	 Kp = 1.5; // should be 1.5 out lab
	 Ki = 0;
	 Kd = 0;
 }
 PID_TypeDef pidControl;
	 bool modLeft, modRight;
	 modLeft = true;
	 modRight = true;

	__readGyroZ(&hi2c1, readGyroZData, gyroZ);
	curAngle += ((gyroZ >= -35 && gyroZ <= 25) ? 0 : gyroZ); //outside lab
	input = -curAngle;

	PID_Compute(&pidControl);

	PID(&pidControl, &input, &offset, 0, Kp, Ki, Kd, _PID_P_ON_E, _PID_CD_DIRECT);//150,0,1.4, and 8,0.01,1
	PID_SetMode(&pidControl, _PID_MODE_AUTOMATIC);
	PID_SetSampleTime(&pidControl, 10);
	PID_SetOutputLimits(&pidControl, (int)2300 - initPwmB, (int) 3700 - initPwmB); //600

	if (modRight){
	 pwmValA = initPwmA - offset * dirCoef;
	}

	if (modLeft){
	 pwmValB = initPwmB + offset * dirCoef;
	}
  if (modRight){
   __HAL_TIM_SetCompare(&htim8,TIM_CHANNEL_1,pwmValA);
  }
  if (modLeft){
   __HAL_TIM_SetCompare(&htim8,TIM_CHANNEL_2,pwmValB);
  }
}

/* distance should be in cm ALT FUNCTION FOR THREE POINT*/
void move_straight_three_point(bool isForward, float distance)
{

	set_wheel_direction(isForward);
	isMeasureDis = true; // trigger measure distance
	float measuredDis = 0;
	float diffVelo = 0; // veloB-veloA;
	int cnt1_A, cnt1_B, cnt1_velo_A, cnt1_velo_B;
	int oldTick;
	htim1.Instance->CCR4 = 74; // see how
	uint32_t usePwmA, usePwmB;

	if (inLab) {
		usePwmA = 1150;
		usePwmB = 1000;
	} else {
		usePwmA = 1150;
		usePwmB = 1000;
	}

	HAL_Delay(500); // used to be 200; delay to the encoder work properly when change direction
	htim1.Instance->CCR4 = servoMid;
	__HAL_TIM_SET_COMPARE(&htim8, TIM_CHANNEL_1, usePwmA);
	__HAL_TIM_SET_COMPARE(&htim8, TIM_CHANNEL_2, usePwmB);

	cnt1_A = __HAL_TIM_GET_COUNTER(&htim2);
	cnt1_B = __HAL_TIM_GET_COUNTER(&htim3);
	cnt1_velo_A = cnt1_A;
	cnt1_velo_B = cnt1_B;

  oldTick = HAL_GetTick();
	do {
		HAL_Delay(5);
		measuredDis = measure(cnt1_A, cnt1_B);
	} while (distance > measuredDis);
//	LED_SHOW = 0;
	isMeasureDis = false; // stop measure
	stop_rear_wheels();
}

/**
 * hard code move_straight_for 10cm
 */
void move_straight_10(){
	htim1.Instance->CCR4 = servoMid;
	osDelay(500);
	uint32_t pwmVal = 5505;
	uint32_t pwmVal_2 = 5820;

	HAL_GPIO_WritePin(GPIOA, AIN2_Pin, GPIO_PIN_SET);
	HAL_GPIO_WritePin(GPIOA, BIN2_Pin, GPIO_PIN_SET);
	HAL_GPIO_WritePin(GPIOA, AIN1_Pin, GPIO_PIN_RESET);
	HAL_GPIO_WritePin(GPIOA, BIN1_Pin, GPIO_PIN_RESET);
	__HAL_TIM_SetCompare(&htim8, TIM_CHANNEL_1, pwmVal_2);
	__HAL_TIM_SetCompare(&htim8, TIM_CHANNEL_2, pwmVal);
	osDelay(125); // set this to change the distance
	// osDelay(120) is 10cm
	stop_rear_wheels();
	osDelay(500);
}

void turn_left()
{
	htim1.Instance->CCR4 = servoLeft;
	uint32_t pwmVal = 1000;
	uint32_t pwmVal_2 = 3000;

	set_wheel_direction(true);

	HAL_Delay(500);
	__HAL_TIM_SetCompare(&htim8, TIM_CHANNEL_1, pwmVal_2);
	__HAL_TIM_SetCompare(&htim8, TIM_CHANNEL_2, pwmVal);

	curAngleTurn = 0;
	gyroZ = 0;
	int last_curTask_tick = HAL_GetTick();

	bool isAngle = false;

	while (!isAngle){
		if (HAL_GetTick() - last_curTask_tick >= 10) { // sample gyro every 10ms
			__readGyroZ(&hi2c1, readGyroZData, gyroZ);
			curAngleTurn += gyroZ / GRYO_SENSITIVITY_SCALE_FACTOR_2000DPS * 0.01;
// 83 for normal
			if (curAngleTurn >= 173 ) {
				htim1.Instance->CCR4 = servoMid;
				stop_rear_wheels();
				break;
			}
			last_curTask_tick = HAL_GetTick();
		}
	}
}

void turn_right()
{

	htim1.Instance->CCR4 = servoRight;
	uint32_t pwmVal = 3000;
	uint32_t pwmVal_2 = 1000;

	set_wheel_direction(true);

	HAL_Delay(500);
	__HAL_TIM_SetCompare(&htim8, TIM_CHANNEL_1, pwmVal_2);
	__HAL_TIM_SetCompare(&htim8, TIM_CHANNEL_2, pwmVal);
	curAngleTurn = 0;
	gyroZ = 0;
	int last_curTask_tick = HAL_GetTick();

	bool isAngle = false;
	while (!isAngle){
		if (HAL_GetTick() - last_curTask_tick >= 10) { // sample gyro every 10ms
			__readGyroZ(&hi2c1, readGyroZData, gyroZ);
			curAngleTurn += gyroZ / GRYO_SENSITIVITY_SCALE_FACTOR_2000DPS * 0.01;

			if (curAngleTurn <= -83) {
				htim1.Instance->CCR4 = servoMid;
				stop_rear_wheels();
				break;
			}
			last_curTask_tick = HAL_GetTick();
		}
	}

}

/**
 * For turning
 */
const float tan_of_wheel_deg_right = 1.75/4.1; // 4.1 work outside lab
const float tan_of_wheel_deg_left = 1.75/4; // 31.06 deg 0.8/1.3 0.8/1.6 1.75/3
float calTurnDis (int deg, bool isRight){
	float tan;
	if (isRight){
		tan = tan_of_wheel_deg_right;
	} else {
		tan = tan_of_wheel_deg_left;
	}
	float turnRadius = 14.5 / tan;
	return turnRadius * deg * M_PI/180;
}

int testDeg = 0;
void turn_deg( int deg, bool isRight, bool isForward){
	testDeg = 0;
	float degMul;
	if (isRight){
		degMul = DegConstRight;
	} else {
		degMul = DegConstLeft;
	}
	set_wheel_direction(isForward);
	uint32_t servo;

	float measuredDis = 0;
	float diffVelo = 0; // veloB-veloA; - cm/s
	uint32_t usePwmB = motorBPwmLow;
	int cnt1_A, cnt1_B, cnt1_velo_A, cnt1_velo_B;
	int oldTick;

	if (isRight){
		servo = servoRight;
	} else {
		servo = servoLeft;
	}
	HAL_Delay(200);
	htim1.Instance->CCR4 = servo;
	HAL_Delay(200);
	__HAL_TIM_SetCompare(&htim8, TIM_CHANNEL_1, motorAPwmLow); //1000
	__HAL_TIM_SetCompare(&htim8, TIM_CHANNEL_2, usePwmB); //1020

	float distance = calTurnDis(deg * degMul, isRight);
	cnt1_A = __HAL_TIM_GET_COUNTER(&htim2);
	cnt1_B = __HAL_TIM_GET_COUNTER(&htim3);
	cnt1A = cnt1_A;
	cnt1B = cnt1_B;

	// for speed control
	cnt1_velo_A = cnt1_A;
	cnt1_velo_B = cnt1_B;
	oldTick = HAL_GetTick();

	curAngleTurn = 0;
	gyroZ = 0;
	int last_curTask_tick = HAL_GetTick();
	do {
	  if (HAL_GetTick() - last_curTask_tick >= 10) { // sample gyro every 10ms
		  __readGyroZ(&hi2c1, readGyroZData, gyroZ);
		  curAngleTurn += GRYO_SENSITIVITY_SCALE_FACTOR_2000DPS * 0.01;
//		  curAngleTurn += ((gyroZ >= -35 && gyroZ <= 25) ? 0 : gyroZ); //outside lab
		  if (abs(curAngleTurn - deg) < 0.01) break;
		  last_curTask_tick = HAL_GetTick();
	  }
	} while(1);

	stop_rear_wheels();
  htim1.Instance->CCR4 = servoMid;
}

/**
 * 3 point turn
 */
const float R = 63.5/2;
float d = R/2;
void three_points_turn_90deg(bool isRight){

	float deg = 30;

	if (!isRight)
	{
		if (inLab){
			deg = 30 * 1.20; //lab floor 1.16
		} else {
			deg = 30 * 1.098; //1.198, 1.075
		}
	} else {
		if (inLab){
			deg = 30 * 0.96; //lab floor
		} else {
			deg = 30 * 0.9; //1.235
		}
	}

	move_straight_three_point(false, 2);
	turn_deg(deg, isRight, true);
	move_straight_three_point(false, d);
	turn_deg(deg, isRight, true);
	move_straight_three_point(false, d);
	turn_deg(deg, isRight, true);
	move_straight_three_point(false, d);
	move_straight_three_point(false, 2);
}
// end motors function

////////////////////////ADC IR //////////////////////////////////////
uint16_t obsTick_IR = 0;
float obsDist_IR = 0;
float debugObsDist_IR = 0;
float GLOBAL_IR_COUNTER = 0;

void readIR(int irNum){
	GLOBAL_IR_COUNTER ++;

	uint16_t dataPoint = 0; uint32_t IR_data_raw_acc = 0;
	isMeasureDis = true;
	if (irNum == 1){
		__aDCReadDist(&hadc1, dataPoint, IR_data_raw_acc, obsDist_IR, obsTick_IR);
		HAL_ADC_Stop(&hadc1);
	} else if (irNum == 2) {
		__aDCReadDist(&hadc2, dataPoint, IR_data_raw_acc, obsDist_IR, obsTick_IR);
		HAL_ADC_Stop(&hadc2);
	}
	debugObsDist_IR = fabs(obsDist_IR);
}

void move_straight_PID_IR(bool isForward, long* distanceCount){
 set_wheel_direction(isForward);
 htim1.Instance->CCR4 = 90;
 HAL_Delay(500); // delay to the encoder work properly when change direction
 htim1.Instance->CCR4 = servoMid;
 HAL_Delay(500);

 double offset = 0; // output Pid
 double input = 0; // input Pid
 uint16_t initPwm = 3000;

 uint16_t pwmValA = initPwm;
 uint16_t pwmValB = initPwm;

 long leftcount = 0;
 long rightcount = 0;
 long initLeftCount = 0;
 long initRightCount = 0;
 long countInDistanceL = 0;
 long countInDistanceR = 0;
 float currentcount = 0;

///////////////////PID CONFIGURATION///////////////////////////////////////////////////////
 int dirCoef = 1;
 double Kp, Ki, Kd, KpL, KiL, KdL;
 if (isForward){
  Kp = 0; // look ok 0.01 0 0 but still depends on the battery - work with 3100 and 2900 //second 0.01 0.5 0
	Ki = 0;
	Kd = 0;
 } else {
  Kp = 0.5; // look ok 0.01 0 0 but still depends on the battery - work with 3100 and 2900 //second 0.01 0.5 0
  Ki = 1;
  Kd = 0.09; // 0.025 look ok but damp quite slow
  dirCoef = -1;
 }
 if (! inLab){
	 Kp = 1.5;
	 Ki = 0;
	 Kd = 0;
 }
 PID_TypeDef pidControl, pidControlR;

 rightcount = __HAL_TIM_GET_COUNTER(&htim2);
 leftcount = __HAL_TIM_GET_COUNTER(&htim3);
 initLeftCount = leftcount;
 initRightCount = rightcount;
 isMeasureDis = true;
 count = 0;

 bool modLeft, modRight;
 modLeft = true;
 modRight = true;

 // reset angle
 gyroZ = 0;
 curAngle = 0;

 readIR(1);
 float initIRDis = obsDist_IR;
 debugObsDist_IR = obsDist_IR;
 HAL_Delay(100);
 isMeasureDis = true;

 do {
    HAL_Delay(10);
    readIR(1);
   	__readGyroZ(&hi2c1, readGyroZData, gyroZ);
   	// since self test always sê gyroZ from -20 to 0 in the stable state
   	// negative moves it to the left, positive moves it to the right
   	curAngle += ((gyroZ >= -35 && gyroZ <= 25) ? 0 : gyroZ); //outside lab
   	input = -curAngle;

    PID_Compute(&pidControl);

    PID(&pidControl, &input, &offset, 0, Kp, Ki, Kd, _PID_P_ON_E, _PID_CD_DIRECT);//150,0,1.4, and 8,0.01,1
    PID_SetMode(&pidControl, _PID_MODE_AUTOMATIC);
    PID_SetSampleTime(&pidControl, 10);
    PID_SetOutputLimits(&pidControl, (int)2300 - initPwm, (int) 3700 - initPwm); //600

    if (modRight){
     pwmValA = initPwm - offset * dirCoef;
     cnt1A = pwmValA;
    }

    if (modLeft){
     pwmValB = initPwm + offset * dirCoef;
     cnt1B = pwmValB;
    }

    if (modRight ){
     __HAL_TIM_SetCompare(&htim8,TIM_CHANNEL_1,pwmValA);
    }
    if (modLeft){
     __HAL_TIM_SetCompare(&htim8,TIM_CHANNEL_2,pwmValB);
    }

    rightcount = __HAL_TIM_GET_COUNTER(&htim2);
    leftcount = __HAL_TIM_GET_COUNTER(&htim3);

    countInDistanceL = findDiffTime(__HAL_TIM_IS_TIM_COUNTING_DOWN(&htim3), initLeftCount,  leftcount);
    countInDistanceR = findDiffTime(__HAL_TIM_IS_TIM_COUNTING_DOWN(&htim2), initRightCount, rightcount);

    *distanceCount = (
      countInDistanceL + countInDistanceR
    )/2;

  } while (obsDist_IR - initIRDis <= 15);

 stop_rear_wheels();
 isMeasureDis = false;
}

uint32_t last_curTask_tick = 0;
void robot_move_dis_IR(float* disCount){
	curAngle = 0; gyroZ = 0;
	htim1.Instance->CCR4 = servoMid;
	readIR(2);
	HAL_Delay(500);
	long countInDistanceL = 0;
	long countInDistanceR = 0;

	long initLeftCount = __HAL_TIM_GET_COUNTER(&htim3);
	long initRightCount = __HAL_TIM_GET_COUNTER(&htim2);

	last_curTask_tick = HAL_GetTick();
  while (debugObsDist_IR < 30) {
		if (HAL_GetTick() - last_curTask_tick >=10) {
			move_straight_PID(true, 20);
			last_curTask_tick = HAL_GetTick();

			countInDistanceL = findDiffTime(__HAL_TIM_IS_TIM_COUNTING_DOWN(&htim3), initLeftCount,  __HAL_TIM_GET_COUNTER(&htim3));
			countInDistanceR = findDiffTime(__HAL_TIM_IS_TIM_COUNTING_DOWN(&htim2), initRightCount,  __HAL_TIM_GET_COUNTER(&htim2));
			*disCount = (countInDistanceL + countInDistanceR)/2;
		}
		readIR(2);
	}
	stop_rear_wheels();
}
////////////////////////ADC IR END //////////////////////////////////////

void robot_move_to_obs(float *disCount) {
	htim1.Instance->CCR4 = servoMid;
	curAngle = 0; gyroZ = 0;
	obsDistUS = 1000;
	HAL_TIM_IC_Start_IT(&htim4, TIM_CHANNEL_2);
	HAL_Delay(500);

	long countInDistanceL = 0;
	long countInDistanceR = 0;

	long initLeftCount = __HAL_TIM_GET_COUNTER(&htim3);
	long initRightCount = __HAL_TIM_GET_COUNTER(&htim2);

	// reads US constantly
	last_curTask_tick = HAL_GetTick();
	do {
		HAL_GPIO_WritePin(US_TRIG_GPIO_Port, US_TRIG_Pin, GPIO_PIN_SET);  // pull the TRIG pin HIGH
		__delayUs(&htim4, 10); // wait for 10us
		HAL_GPIO_WritePin(US_TRIG_GPIO_Port, US_TRIG_Pin, GPIO_PIN_RESET);  // pull the TRIG pin low
		__HAL_TIM_ENABLE_IT(&htim4, TIM_IT_CC2);
		selfDelay(100); // give timer interrupt chance to update obsDist_US value
		if (obsDistUS <= 35) {
			stop_rear_wheels();
			HAL_TIM_IC_Stop_IT(&htim4, TIM_CHANNEL_2);
			return;
		}
		if (HAL_GetTick() - last_curTask_tick >=10) {
			move_straight_no_distance(true);
			last_curTask_tick = HAL_GetTick();

			countInDistanceL = findDiffTime(__HAL_TIM_IS_TIM_COUNTING_DOWN(&htim3), initLeftCount,  __HAL_TIM_GET_COUNTER(&htim3));
			countInDistanceR = findDiffTime(__HAL_TIM_IS_TIM_COUNTING_DOWN(&htim2), initRightCount,  __HAL_TIM_GET_COUNTER(&htim2));
			*disCount = (countInDistanceL + countInDistanceR)/2;
		}
	} while (1);
}

uint16_t cmdCount = 0;
float movebackDisCount = 0;

void selfDelay(uint32_t ticks){
	osDelay(ticks);
}
void week_9_v1(int indicate) {

	// Initialisation of IR value of first version
	float obsDist_IR_value = 0;

	/// count track value
	float uSDisCount = 0;
	float irDisCount1 = 0;
	float irDisCount2 = 0;

	float rightTurnDia = 60; // found by measure displacement
	float initStraightDis = 40;
	float obsLength = 70;
	uint32_t delayTick = 100;
	cmdCount = 0;

////// check indicate
	//left
	if (indicate == -1){
		rightTurnDia -= 5;
	} else if (indicate == 1){
		rightTurnDia += 5;
	}
//// MOVE TO OBS /////////
	move_straight_PID(true, initStraightDis);
	selfDelay(delayTick);
	robot_move_to_obs(&uSDisCount);
	cmdCount += 1;
	selfDelay(delayTick);              // can see if we can decrease or remove it entirely
//// 1ST TURN RIGHT ///////
	turn_right();
	cmdCount += 1;
	selfDelay(delayTick); // can see if we can decrease or remove it entirely

////// Hug the wall. First hug along length of obstacles
	robot_move_dis_IR(&irDisCount1);
	cmdCount += 1;
	selfDelay(delayTick);              // can see if we can decrease or remove it entirely

///// Make a left turn 180 deg
	 turn_left();
	 cmdCount += 1;
	 selfDelay(delayTick);            // can see if we can decrease or remove it entirely

	 obsDist_IR_value = 0;

/// Move along the obstacle
	 move_straight_PID(true, obsLength);

	 cmdCount += 1;
	 selfDelay(delayTick);              // can see if we can decrease or remove it entirely

///// Make a left turn 180
	turn_left();
	cmdCount += 1;
	selfDelay(delayTick);             // can see if we can decrease or remove it entirely

//// Move to initial horizontal
//	 move_straight_PID(true, 30);
	 movebackDisCount = distanceToCount(obsLength) - irDisCount1 - distanceToCount(rightTurnDia);
	 move_straight_PID_Count(movebackDisCount > 0, fabs(movebackDisCount));
	 cmdCount += 1;
	 selfDelay(delayTick); // can see if we can decrease or remove it entirely

///// Make a right turn 90
	 turn_right();
	 cmdCount += 1;
	 selfDelay(delayTick);               // can see if we can decrease or remove it entirely

///////  Travel home
	 // MUST MAKE THIS DYNAMIC  (Initial distance travelled obtained from US - 50)
	 move_straight_PID_Count(true, uSDisCount + distanceToCount(initStraightDis));
	 cmdCount += 1;
//	 HAL_Delay(130);

}

void main_test_IR(){

		HAL_TIM_IC_Start_IT(&htim4, TIM_CHANNEL_2);
		do {
			__HAL_TIM_ENABLE_IT(&htim4, TIM_IT_CC2);
			HAL_GPIO_WritePin(US_TRIG_GPIO_Port, US_TRIG_Pin, GPIO_PIN_SET);  // pull the TRIG pin HIGH
			__delayUs(&htim4, 10); // wait for 10us
			HAL_GPIO_WritePin(US_TRIG_GPIO_Port, US_TRIG_Pin, GPIO_PIN_RESET);  // pull the TRIG pin low
	//		__HAL_TIM_ENABLE_IT(&htim4, TIM_IT_CC2);
			osDelay(10); // give timer interrupt chance to update obsDistUS value
		} while (1);
		HAL_TIM_IC_Stop_IT(&htim4, TIM_CHANNEL_2);

}

/* USER CODE END 4 */

void StartDefaultTask(void *argument)
{
  /* USER CODE BEGIN 5 */
  /* Infinite loop */
	  for(;;)
	  {
	    osDelay(5000);
	  }
  /* USER CODE END 5 */
}

/* USER CODE BEGIN Header_motors */
/**
* @brief Function implementing the MotorTask thread.
* @param argument: Not used
* @retval None
*/
// this var should be del later;
bool haveSendSignalBack = false;
/* USER CODE END Header_motors */
void motors(void *argument)
{
  /* USER CODE BEGIN motors */
	uint16_t pwmVal;
	uint16_t pwmVal_2;
	HAL_TIM_PWM_Start(&htim1, TIM_CHANNEL_4);
	HAL_TIM_PWM_Start(&htim8, TIM_CHANNEL_1);
	HAL_TIM_PWM_Start(&htim8, TIM_CHANNEL_2);
	HAL_TIM_Encoder_Start(&htim2, TIM_CHANNEL_ALL);
	HAL_TIM_Encoder_Start(&htim3, TIM_CHANNEL_ALL);
	/**
	 * note: if set encoder in different channel, may cause in first for loop, encoder not wake up yet and result in move straight no work
	 */

	/**
	 * init the variable base on lab condition
	 */
	if (inLab) {
		motorBPwmLow = 1020;
		DegConstLeft = 0.97;
		DegConstRight = 0.97;
	} else {
		motorBPwmLow = 1000; //2300
		motorAPwmLow = 1000;
		DegConstLeft = 0.97;
		DegConstRight = 1;
	}

	char direction = 'p'; // 'l' for left, 'r' for right, 'f' for forward
	uint8_t completeChar = 'C';
	uint8_t defaultChar = 'z';
	uint8_t endChar = '\r';

	bool isMoved = false;
	float straightDistance = 0;
	int deg = 0;
	bool doCommand = false;

	osDelay(100);
//	aRxBuffer[0] = 'L';
	bool haveTest = false;
	for(;;)
	  {
			if (commandReady && haveTest){
				haveSendSignalBack = false;
				doCommand = true;
				switch (aRxBuffer[0]){
					case 'F':
						straightDistance = arrTofloat(aRxBuffer,1,indexer-1);
						move_straight_PID(true, straightDistance);
						straightDistance = 0;
						break;
					case 'B':
						straightDistance = arrTofloat(aRxBuffer,1,indexer-1);
						move_straight_PID(false, straightDistance);
						straightDistance = 0;
						break;
					case 'L':
						if (indexer-1 > 1){
							deg = (int) arrTofloat(aRxBuffer,1,indexer-1);
							turn_deg(deg, false, true);
							deg = 0;
						} else {
							three_points_turn_90deg(false);
						}
						break;
					case 'R':
						if (indexer-1 > 1){
							deg = (int) arrTofloat(aRxBuffer,1,indexer-1);
							turn_deg(deg, true, true);
							deg =0;
						} else {
							three_points_turn_90deg(true);
						}
						break;
					case 'A':
						// left reverse
						if (indexer-1 > 1){
							deg = (int) arrTofloat(aRxBuffer,1,indexer-1);
							turn_deg(deg, true, false);
							deg =0;
						}
						break;
					case 'D':
						// right reverse
						if (indexer-1 > 1){
							deg = (int) arrTofloat(aRxBuffer,1,indexer-1);
							turn_deg(deg, false, false);
							deg =0;
						}
						break;
					case 'T':
						week_9_v1(0);
						break;
					default:
						doCommand = false;
						break;
				}
				if (doCommand){
					if (HAL_UART_Transmit_IT(&huart3, (uint8_t *) &completeChar, 1) == HAL_OK){
						haveSendSignalBack = true;
					};
				}
				commandReady = false;
			}
/* for test */
			if (! haveTest){
//				week_9_v1(0);
				haveTest = true;

			}
	  	osDelay(1000);
	  }
  /* USER CODE END motors */
}

void show(void *argument)
{
  /* USER CODE BEGIN show */
	uint8_t hello[20] = "";
  /* Infinite loop */

  for(;;)
  {
//  	sprintf(hello, "US:%-4d|IR:%-4d", (int)obsDistUS, (int)obsDist_IR);
//  	OLED_ShowString(10, 0, hello);

//	  sprintf(hello, "US %f", obsDistUS);
//	  OLED_ShowString(10, 20, hello);

//	  sprintf(hello, "cmdCount %d", cmdCount);
//	  OLED_ShowString(10, 20, hello);
//	  OLED_Refresh_Gram();
	  osDelay(1000);
  }
  /* USER CODE END show */
}

void Error_Handler(void)
{
  __disable_irq();
  while (1)
  {
  }
}
